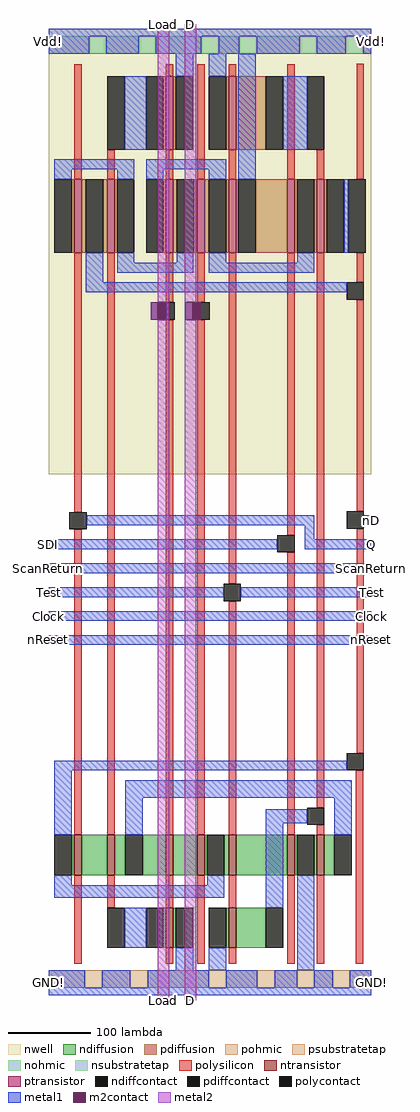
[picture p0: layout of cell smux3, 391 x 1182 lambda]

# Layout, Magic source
magic
tech tsmc180
<< nwell >>
rect 0 637 391 1176
<< polysilicon >>
rect 31 994 40 1133
rect 142 1119 151 1133
rect 71 994 80 1030
rect 142 994 151 1030
rect 180 994 189 1133
rect 218 1119 227 1133
rect 218 994 227 1030
rect 289 994 298 1133
rect 325 994 334 1030
rect 373 994 382 1134
rect 31 591 40 905
rect 31 200 40 570
rect 71 200 80 905
rect 142 845 151 905
rect 180 845 189 905
rect 142 200 151 824
rect 180 200 189 824
rect 218 504 227 905
rect 289 563 298 905
rect 218 200 227 483
rect 289 200 298 542
rect 325 233 334 905
rect 373 869 382 905
rect 373 592 382 848
rect 373 299 382 571
rect 325 200 334 212
rect 31 44 40 151
rect 71 112 80 151
rect 142 112 151 151
rect 142 44 151 63
rect 180 44 189 151
rect 218 112 227 151
rect 218 44 227 63
rect 289 44 298 151
rect 325 44 334 151
rect 372 44 381 278
<< ndiffusion >>
rect 28 151 31 200
rect 40 151 71 200
rect 80 151 93 200
rect 114 151 142 200
rect 151 151 180 200
rect 189 151 192 200
rect 213 151 218 200
rect 227 151 289 200
rect 298 151 301 200
rect 322 151 325 200
rect 334 151 346 200
rect 139 63 142 112
rect 151 63 154 112
rect 215 63 218 112
rect 227 63 263 112
<< pdiffusion >>
rect 139 1030 142 1119
rect 151 1030 154 1119
rect 215 1030 218 1119
rect 227 1030 263 1119
rect 28 905 31 994
rect 40 905 45 994
rect 66 905 71 994
rect 80 905 83 994
rect 139 905 142 994
rect 151 905 155 994
rect 176 905 180 994
rect 189 905 194 994
rect 215 905 218 994
rect 227 905 230 994
rect 251 905 289 994
rect 298 905 301 994
rect 322 905 325 994
rect 334 905 337 994
<< pohmic >>
rect 0 15 44 36
rect 65 15 99 36
rect 120 15 194 36
rect 215 15 253 36
rect 274 15 301 36
rect 322 15 344 36
rect 365 15 391 36
<< nohmic >>
rect 0 1146 49 1167
rect 70 1146 109 1167
rect 130 1146 185 1167
rect 206 1146 231 1167
rect 252 1146 304 1167
rect 325 1146 360 1167
rect 381 1146 391 1167
<< ntransistor >>
rect 31 151 40 200
rect 71 151 80 200
rect 142 151 151 200
rect 180 151 189 200
rect 218 151 227 200
rect 289 151 298 200
rect 325 151 334 200
rect 142 63 151 112
rect 218 63 227 112
<< ptransistor >>
rect 142 1030 151 1119
rect 218 1030 227 1119
rect 31 905 40 994
rect 71 905 80 994
rect 142 905 151 994
rect 180 905 189 994
rect 218 905 227 994
rect 289 905 298 994
rect 325 905 334 994
<< polycontact >>
rect 71 1030 92 1119
rect 313 1030 334 1119
rect 363 905 384 994
rect 25 570 46 591
rect 132 824 153 845
rect 174 824 195 845
rect 277 542 298 563
rect 212 483 233 504
rect 361 848 382 869
rect 361 571 382 592
rect 361 278 382 299
rect 313 212 334 233
rect 71 63 92 112
<< ndiffcontact >>
rect 7 151 28 200
rect 93 151 114 200
rect 192 151 213 200
rect 301 151 322 200
rect 346 151 367 200
rect 118 63 139 112
rect 154 63 175 112
rect 194 63 215 112
rect 263 63 284 112
<< pdiffcontact >>
rect 118 1030 139 1119
rect 154 1030 175 1119
rect 194 1030 215 1119
rect 263 1030 284 1119
rect 7 905 28 994
rect 45 905 66 994
rect 83 905 104 994
rect 118 905 139 994
rect 155 905 176 994
rect 194 905 215 994
rect 230 905 251 994
rect 301 905 322 994
rect 337 905 358 994
<< psubstratetap >>
rect 44 15 65 36
rect 99 15 120 36
rect 194 15 215 36
rect 253 15 274 36
rect 301 15 322 36
rect 344 15 365 36
<< nsubstratetap >>
rect 49 1146 70 1167
rect 109 1146 130 1167
rect 185 1146 206 1167
rect 231 1146 252 1167
rect 304 1146 325 1167
rect 360 1146 381 1167
<< metal1 >>
rect 0 1167 391 1176
rect 0 1146 49 1167
rect 70 1146 109 1167
rect 130 1146 185 1167
rect 206 1146 231 1167
rect 252 1146 304 1167
rect 325 1146 360 1167
rect 381 1146 391 1167
rect 154 1119 175 1146
rect 92 1030 118 1119
rect 194 1119 215 1146
rect 7 1006 104 1018
rect 7 994 28 1006
rect 83 994 104 1006
rect 45 869 66 905
rect 118 1006 215 1018
rect 118 994 139 1006
rect 194 994 215 1006
rect 230 994 251 1146
rect 284 1030 313 1119
rect 358 905 363 994
rect 83 893 104 905
rect 155 893 175 905
rect 83 881 175 893
rect 194 893 215 905
rect 301 893 322 905
rect 194 881 322 893
rect 45 857 361 869
rect 46 575 322 587
rect 0 546 277 558
rect 310 558 322 575
rect 382 575 391 587
rect 310 546 391 558
rect 0 517 391 529
rect 0 488 212 500
rect 233 488 391 500
rect 0 459 391 471
rect 0 430 391 442
rect 7 278 361 290
rect 7 200 28 278
rect 93 245 367 266
rect 93 200 114 245
rect 263 214 313 231
rect 7 139 28 151
rect 192 139 213 151
rect 7 124 213 139
rect 263 112 284 214
rect 346 200 367 245
rect 92 63 118 112
rect 154 36 175 63
rect 194 36 215 63
rect 301 36 322 151
rect 0 15 44 36
rect 65 15 99 36
rect 120 15 194 36
rect 215 15 253 36
rect 274 15 301 36
rect 322 15 344 36
rect 365 15 391 36
rect 0 6 391 15
<< m2contact >>
rect 124 824 132 845
rect 132 824 143 845
rect 165 824 174 845
rect 174 824 184 845
<< metal2 >>
rect 132 845 146 1182
rect 143 824 146 845
rect 132 0 146 824
rect 165 845 179 1182
rect 165 0 179 824
<< labels >>
rlabel metal2 132 1182 146 1182 5 Load
rlabel metal2 165 1182 179 1182 5 D
rlabel metal1 0 1146 0 1176 3 Vdd!
rlabel metal1 391 1146 391 1176 7 Vdd!
rlabel metal1 391 459 391 471 7 Clock
rlabel metal1 391 488 391 500 7 Test
rlabel metal1 391 517 391 529 7 ScanReturn
rlabel metal1 0 459 0 471 3 Clock
rlabel metal1 0 488 0 500 3 Test
rlabel metal1 0 517 0 529 3 ScanReturn
rlabel metal1 0 546 0 558 3 SDI
rlabel metal1 391 546 391 558 7 Q
rlabel metal1 0 430 0 442 3 nReset
rlabel metal1 391 430 391 442 7 nReset
rlabel metal1 391 575 391 587 7 nD
rlabel metal2 165 0 179 0 1 D
rlabel metal2 132 0 146 0 1 Load
rlabel metal1 391 6 391 36 7 GND!
rlabel metal1 0 6 0 36 3 GND!
<< end >>
